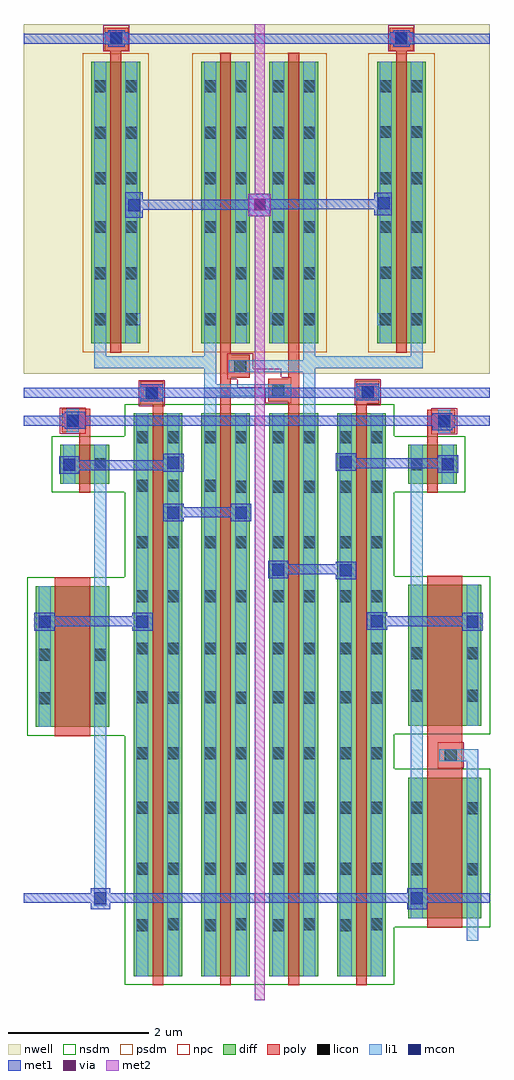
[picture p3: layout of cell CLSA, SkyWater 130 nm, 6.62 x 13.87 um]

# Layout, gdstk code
import gdstk
lib = gdstk.Library(unit=1e-6, precision=1e-09)
def R(c, l, rs):  # rectangles x0, y0, x1, y1
    for r in rs: c.add(gdstk.rectangle(r[:2], r[2:], *l))
nwell = (64, 20)
diff = (65, 20)
poly = (66, 20)
licon = (66, 44)
li1 = (67, 20)
mcon = (67, 44)
met1 = (68, 20)
via = (68, 44)
met2 = (69, 20)
nsdm = (93, 44)
psdm = (94, 20)
npc = (95, 20)

clsa = lib.new_cell('CLSA')
R(clsa, nwell, [(17.51,-3.62,24.13,1.35)])
R(clsa, diff, [(19.07,-12.18,19.76,-4.18), (20.03,-12.18,20.72,-4.18), (21,-12.18,21.69,-4.18), (21.96,-12.18,22.65,-4.18), (22.97,-11.36,24.01,-9.36), (17.68,-8.64,18.72,-6.64), (22.97,-8.62,24.01,-6.62), (18.03,-5.18,18.72,-4.63), (22.97,-5.18,23.66,-4.63), (18.47,-3.19,19.16,0.81), (20.03,-3.19,20.72,0.81), (21,-3.19,21.69,0.81), (22.53,-3.19,23.22,0.81)])
R(clsa, poly, [(19.34,-12.31,19.49,-4.06), (20.3,-12.31,20.45,-3.68), (21.27,-12.31,21.42,-4.02), (22.23,-12.31,22.38,-4.05), (23.24,-11.49,23.74,-6.49), (17.95,-8.77,18.45,-6.51), (18.3,-5.31,18.45,-4.45), (23.24,-5.31,23.39,-4.46), (23.24,-4.46,23.64,-4.13), (18.05,-4.45,18.45,-4.12), (19.16,-4.06,19.49,-3.73), (22.23,-4.05,22.56,-3.72), (20.98,-4.02,21.42,-3.69), (21.27,-3.69,21.42,0.94), (20.3,-3.68,20.72,-3.35), (20.3,-3.35,20.45,0.94), (18.74,-3.32,18.89,0.97), (22.8,-3.32,22.95,0.97), (18.66,0.97,18.99,1.3), (22.71,0.97,23.04,1.3)])
R(clsa, licon, [(19.11,-11.54,19.28,-11.37), (20.07,-11.54,20.24,-11.37), (21.04,-11.54,21.21,-11.37), (22,-11.54,22.17,-11.37), (19.55,-11.53,19.72,-11.36), (20.51,-11.53,20.68,-11.36), (21.48,-11.53,21.65,-11.36), (22.44,-11.53,22.61,-11.36), (23.01,-10.75,23.18,-10.58), (23.8,-10.75,23.97,-10.58), (19.11,-10.74,19.28,-10.57), (19.55,-10.74,19.72,-10.57), (20.07,-10.74,20.24,-10.57), (20.51,-10.74,20.68,-10.57), (21.04,-10.74,21.21,-10.57), (21.48,-10.74,21.65,-10.57), (22,-10.74,22.17,-10.57), (22.44,-10.74,22.61,-10.57), (23.8,-9.88,23.97,-9.71), (19.11,-9.87,19.28,-9.7), (19.55,-9.87,19.72,-9.7), (20.07,-9.87,20.24,-9.7), (20.51,-9.87,20.68,-9.7), (21.04,-9.87,21.21,-9.7), (21.48,-9.87,21.65,-9.7), (22,-9.87,22.17,-9.7), (22.44,-9.87,22.61,-9.7), (23.01,-9.87,23.18,-9.7), (23.49,-9.13,23.66,-8.96), (19.11,-9.1,19.28,-8.93), (19.55,-9.1,19.72,-8.93), (20.07,-9.1,20.24,-8.93), (20.51,-9.1,20.68,-8.93), (21.04,-9.1,21.21,-8.93), (21.48,-9.1,21.65,-8.93), (22,-9.1,22.17,-8.93), (22.44,-9.1,22.61,-8.93), (17.72,-8.32,17.89,-8.15), (18.51,-8.32,18.68,-8.15), (19.55,-8.31,19.72,-8.14), (20.51,-8.31,20.68,-8.14), (21.48,-8.31,21.65,-8.14), (22.44,-8.31,22.61,-8.14), (19.11,-8.3,19.28,-8.13), (20.07,-8.3,20.24,-8.13), (21.04,-8.3,21.21,-8.13), (22,-8.3,22.17,-8.13), (23.01,-8.28,23.18,-8.11), (23.8,-8.28,23.97,-8.11), (17.72,-7.7,17.89,-7.53), (18.51,-7.7,18.68,-7.53), (23.01,-7.68,23.18,-7.51), (23.8,-7.68,23.97,-7.51), (19.11,-7.61,19.28,-7.44), (19.55,-7.61,19.72,-7.44), (20.07,-7.61,20.24,-7.44), (20.51,-7.61,20.68,-7.44), (21.04,-7.61,21.21,-7.44), (21.48,-7.61,21.65,-7.44), (22,-7.61,22.17,-7.44), (22.44,-7.61,22.61,-7.44), (17.72,-7.23,17.89,-7.06), (19.11,-6.87,19.28,-6.7), (19.55,-6.87,19.72,-6.7), (20.07,-6.87,20.24,-6.7), (20.51,-6.87,20.68,-6.7), (21.04,-6.87,21.21,-6.7), (21.48,-6.87,21.65,-6.7), (22,-6.87,22.17,-6.7), (22.44,-6.87,22.61,-6.7), (19.11,-6.1,19.28,-5.93), (19.55,-6.1,19.72,-5.93), (20.07,-6.1,20.24,-5.93), (20.51,-6.1,20.68,-5.93), (21.04,-6.1,21.21,-5.93), (21.48,-6.1,21.65,-5.93), (22,-6.1,22.17,-5.93), (22.44,-6.1,22.61,-5.93), (20.51,-5.31,20.68,-5.14), (21.04,-5.31,21.21,-5.14), (21.48,-5.31,21.65,-5.14), (22,-5.31,22.17,-5.14), (22.44,-5.31,22.61,-5.14), (19.11,-5.3,19.28,-5.13), (19.55,-5.3,19.72,-5.13), (20.07,-5.3,20.24,-5.13), (18.07,-5,18.24,-4.83), (18.51,-4.99,18.68,-4.82), (23.01,-4.99,23.18,-4.82), (23.45,-4.99,23.62,-4.82), (19.11,-4.61,19.28,-4.44), (19.55,-4.61,19.72,-4.44), (20.07,-4.61,20.24,-4.44), (20.51,-4.61,20.68,-4.44), (21.04,-4.61,21.21,-4.44), (21.48,-4.61,21.65,-4.44), (22,-4.61,22.17,-4.44), (22.44,-4.61,22.61,-4.44), (23.4,-4.38,23.57,-4.21), (18.12,-4.37,18.29,-4.2), (19.24,-3.98,19.41,-3.81), (22.31,-3.97,22.48,-3.8), (21.04,-3.94,21.21,-3.77), (20.5,-3.6,20.67,-3.43), (18.51,-2.93,18.68,-2.76), (18.95,-2.93,19.12,-2.76), (20.07,-2.93,20.24,-2.76), (20.51,-2.93,20.68,-2.76), (21.04,-2.93,21.21,-2.76), (21.48,-2.93,21.65,-2.76), (22.57,-2.93,22.74,-2.76), (23.01,-2.93,23.18,-2.76), (18.51,-2.28,18.68,-2.11), (18.95,-2.28,19.12,-2.11), (20.07,-2.28,20.24,-2.11), (20.51,-2.28,20.68,-2.11), (21.04,-2.28,21.21,-2.11), (21.48,-2.28,21.65,-2.11), (22.57,-2.27,22.74,-2.1), (23.01,-2.27,23.18,-2.1), (18.51,-1.62,18.68,-1.45), (18.95,-1.62,19.12,-1.45), (20.07,-1.62,20.24,-1.45), (20.51,-1.62,20.68,-1.45), (21.04,-1.62,21.21,-1.45), (21.48,-1.62,21.65,-1.45), (22.57,-1.62,22.74,-1.45), (23.01,-1.62,23.18,-1.45), (18.51,-0.93,18.68,-0.76), (18.95,-0.93,19.12,-0.76), (20.07,-0.93,20.24,-0.76), (20.51,-0.93,20.68,-0.76), (21.04,-0.93,21.21,-0.76), (21.48,-0.93,21.65,-0.76), (22.57,-0.93,22.74,-0.76), (23.01,-0.93,23.18,-0.76), (18.51,-0.28,18.68,-0.11), (18.95,-0.28,19.12,-0.11), (20.07,-0.28,20.24,-0.11), (20.51,-0.28,20.68,-0.11), (21.04,-0.28,21.21,-0.11), (21.48,-0.28,21.65,-0.11), (22.57,-0.27,22.74,-0.1), (23.01,-0.27,23.18,-0.1), (18.51,0.38,18.68,0.55), (18.95,0.38,19.12,0.55), (20.07,0.38,20.24,0.55), (20.51,0.38,20.68,0.55), (21.04,0.38,21.21,0.55), (21.48,0.38,21.65,0.55), (22.57,0.38,22.74,0.55), (23.01,0.38,23.18,0.55), (18.74,1.06,18.91,1.23), (22.79,1.06,22.96,1.23)])
R(clsa, li1, [(19.11,-12.18,19.28,-4.18), (19.55,-12.18,19.72,-4.18), (20.07,-12.18,20.24,-3.94), (20.51,-12.18,20.68,-4.18), (21.04,-12.18,21.21,-4.18), (21.48,-12.18,21.65,-3.6), (22,-12.18,22.17,-4.18), (22.44,-12.18,22.61,-4.18), (23.8,-11.68,23.97,-9.13), (23.01,-11.36,23.18,-4.63), (18.51,-11.18,18.68,-4.63), (23.41,-9.13,23.97,-8.96), (17.72,-8.64,17.89,-6.64), (23.8,-8.62,23.97,-6.62), (18.07,-5.18,18.24,-4.63), (23.45,-5.18,23.62,-4.63), (23.4,-4.46,23.57,-4.13), (18.12,-4.45,18.29,-4.12), (19.16,-3.98,19.49,-3.81), (22.23,-3.97,22.56,-3.8), (20.07,-3.94,21.31,-3.77), (20.07,-3.77,20.24,-3.54), (20.42,-3.6,21.65,-3.54), (18.51,-3.54,20.24,-3.37), (20.42,-3.54,23.18,-3.43), (21.48,-3.43,23.18,-3.37), (18.51,-3.37,18.68,0.81), (20.07,-3.37,20.24,0.81), (21.48,-3.37,21.65,0.81), (23.01,-3.37,23.18,0.81), (18.95,-3.19,19.12,-2.93), (20.51,-3.19,20.68,-2.92), (21.04,-3.19,21.21,-2.92), (22.57,-3.19,22.74,-2.93), (18.95,-2.93,19.16,-2.76), (22.53,-2.93,22.74,-2.76), (20.51,-2.92,20.7,-2.75), (21.02,-2.92,21.21,-2.75), (18.95,-2.76,19.12,-1.31), (22.57,-2.76,22.74,-1.28), (20.51,-2.75,20.68,-1.3), (21.04,-2.75,21.21,-1.3), (18.95,-1.31,19.16,-1.14), (20.51,-1.3,21.21,-1.13), (22.53,-1.28,22.74,-1.11), (18.95,-1.14,19.12,0.81), (20.51,-1.13,20.68,0.81), (21.04,-1.13,21.21,0.81), (22.57,-1.11,22.74,0.81), (18.66,1.06,18.99,1.23), (22.71,1.06,23.04,1.23)])
R(clsa, mcon, [(18.51,-11.16,18.68,-10.99), (23.01,-11.16,23.18,-10.99), (17.72,-7.23,17.89,-7.06), (19.11,-7.23,19.28,-7.06), (23.8,-7.23,23.97,-7.06), (22.44,-7.22,22.61,-7.05), (22,-6.5,22.17,-6.33), (21.04,-6.49,21.21,-6.32), (19.55,-5.68,19.72,-5.51), (20.51,-5.68,20.68,-5.51), (18.07,-5,18.24,-4.83), (23.45,-4.99,23.62,-4.82), (19.55,-4.97,19.72,-4.8), (22,-4.96,22.17,-4.79), (23.4,-4.38,23.57,-4.21), (18.12,-4.37,18.29,-4.2), (19.24,-3.98,19.41,-3.81), (22.31,-3.97,22.48,-3.8), (18.99,-1.31,19.16,-1.14), (20.78,-1.3,20.95,-1.13), (22.54,-1.28,22.71,-1.11), (18.74,1.06,18.91,1.23), (22.79,1.06,22.96,1.23)])
R(clsa, met1, [(18.46,-11.23,18.74,-11.14), (22.96,-11.23,23.24,-11.14), (17.51,-11.14,24.13,-11), (18.46,-11,18.74,-10.93), (22.96,-11,23.24,-10.93), (17.66,-7.27,17.95,-7.21), (19.05,-7.27,19.34,-7.21), (23.74,-7.27,24.03,-7.21), (22.38,-7.26,22.67,-7.21), (17.66,-7.21,19.34,-7.07), (22.38,-7.21,24.03,-7.07), (17.66,-7.07,17.95,-7.02), (19.05,-7.07,19.34,-7.02), (22.38,-7.07,22.67,-7.01), (23.74,-7.07,24.03,-7.02), (21.94,-6.54,22.23,-6.47), (20.98,-6.53,21.27,-6.47), (20.98,-6.47,22.23,-6.33), (20.98,-6.33,21.27,-6.28), (21.94,-6.33,22.23,-6.29), (19.49,-5.72,19.78,-5.66), (20.45,-5.72,20.74,-5.66), (19.49,-5.66,20.74,-5.52), (19.49,-5.52,19.78,-5.47), (20.45,-5.52,20.74,-5.47), (18.01,-5.04,18.3,-4.99), (23.39,-5.03,23.68,-4.96), (19.49,-5.01,19.78,-4.99), (21.94,-5,22.23,-4.96), (18.01,-4.99,19.78,-4.85), (21.94,-4.96,23.68,-4.82), (18.01,-4.85,18.3,-4.79), (19.49,-4.85,19.78,-4.76), (21.94,-4.82,22.23,-4.75), (23.39,-4.82,23.68,-4.78), (23.31,-4.42,23.6,-4.39), (18.09,-4.4,18.38,-4.37), (23.31,-4.39,23.64,-4.36), (18.05,-4.37,18.38,-4.36), (17.51,-4.36,24.13,-4.22), (18.05,-4.22,18.38,-4.19), (23.31,-4.22,23.64,-4.21), (23.31,-4.21,23.6,-4.18), (18.09,-4.19,18.38,-4.16), (19.16,-4.01,19.49,-3.96), (22.23,-4,22.56,-3.96), (17.51,-3.96,24.13,-3.82), (19.16,-3.82,19.49,-3.77), (22.23,-3.82,22.56,-3.76), (18.95,-1.4,19.2,-1.29), (20.7,-1.38,21.02,-1.29), (22.49,-1.37,22.74,-1.28), (18.95,-1.29,21.02,-1.28), (18.95,-1.28,22.74,-1.15), (18.95,-1.15,19.2,-1.04), (20.7,-1.15,22.74,-1.14), (20.7,-1.14,21.02,-1.06), (22.49,-1.14,22.74,-1.05), (18.71,1.03,18.94,1.06), (22.76,1.03,22.99,1.06), (18.66,1.06,18.99,1.07), (22.71,1.06,23.04,1.07), (17.51,1.07,24.13,1.21), (18.66,1.21,18.99,1.23), (22.71,1.21,23.04,1.23), (18.71,1.23,18.94,1.26), (22.76,1.23,22.99,1.26)])
R(clsa, via, [(20.785,-1.295,20.935,-1.145)])
R(clsa, met2, [(20.79,-12.52,20.93,-1.38), (20.7,-1.38,21.02,-1.06), (20.79,-1.06,20.93,1.35)])
R(clsa, nsdm, [(18.945,-12.305,22.775,-11.485), (18.945,-11.485,24.135,-9.235), (18.945,-9.235,22.775,-8.765), (17.555,-8.765,22.775,-8.745), (17.555,-8.745,24.135,-6.515), (18.945,-6.515,24.135,-6.495), (18.945,-6.495,22.775,-5.305), (17.905,-5.305,23.785,-4.505), (18.945,-4.505,22.775,-4.055)])
R(clsa, psdm, [(18.345,-3.315,19.285,0.935), (19.905,-3.315,21.815,0.935), (22.405,-3.315,23.345,0.935)])
R(clsa, npc, [(23.39,-9.23,23.76,-8.86), (23.3,-4.48,23.67,-4.11), (18.02,-4.47,18.39,-4.1), (19.14,-4.08,19.51,-3.71), (22.21,-4.07,22.58,-3.7), (20.94,-4.04,21.31,-3.82), (20.545,-3.82,21.31,-3.7), (20.4,-3.7,21.31,-3.67), (20.4,-3.67,21.165,-3.55), (20.4,-3.55,20.77,-3.33), (18.64,0.96,19.01,1.33), (22.69,0.96,23.06,1.33)])

lib.write_gds('CLSA.gds')
